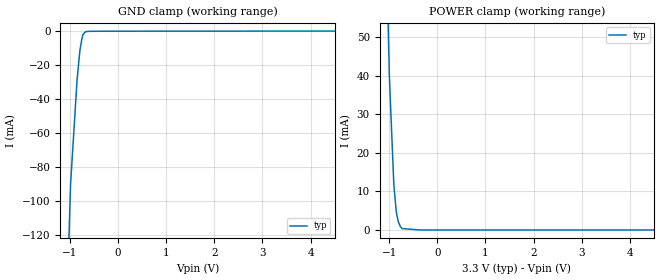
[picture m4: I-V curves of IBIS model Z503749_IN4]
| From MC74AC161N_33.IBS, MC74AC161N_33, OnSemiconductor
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| (C) COPYRIGHT 1993-2000
| MENTOR GRAPHICS CORPORATION
| ICX STANDARD LIBRARY, ICX PROJECT MODELING,
| ICX CUSTOM MODELING, ICX VENDOR MODEL
| ALL RIGHTS RESERVED.
| THE FOLLOWING ARE TRADEMARKS OR SERVICE MARKS OF
| MENTOR GRAPHICS CORPORATION:ICX (R), ICX STANDARD
| LIBRARY(R), ICX PROJECT MODELING(R), ICX CUSTOM
| MODELING(R), qualityIBIS(TM), MODELVIEWER(TM),
| AND MODELEDITOR(TM)
| ALL COPIES OF SOFTWARE, INCLUDING BUT NOT LIMITED TO
| ANY MODIFICATIONS, ENHANCEMENTS OR DERIVATIVE WORKS,
| MUST CONTAIN ALL MENTOR GRAPHICS CORPORATION'S
| NOTICES AND LEGENDS, INCLUDING THOSE EMBEDDED IN
| SOFTWARE AND THOSE AFFIXED TO SOFTWARE MEDIUM
| AND CONTAINER, AS RECEIVED FROM MENTOR GRAPHICS
| CORPORATION.
| Model Application Version 1.89 2/18/99.
[Model] Z503749_IN4
Model_type Input
Vinl = 990.0mV
Vinh = 2.310V
C_comp 4.000pF NA NA
| variable typ   min   max
[Voltage Range] 3.300V NA NA
[GND Clamp Reference] 0.000V NA NA
[POWER Clamp Reference] 3.300V NA NA
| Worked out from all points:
|   GND clamp passes 1 mA (typ) near -0.71 V on its own axis
|   POWER clamp passes 1 mA (typ) near -0.77 V on its own axis
[GND Clamp]
-3.3V     -2.246A    NA         NA
-989.4mV  -90.08mA   NA         NA
-855.6mV  -29.12mA   NA         NA
-796.6mV  -11.35mA   NA         NA
-747.3mV  -3.256mA   NA         NA
-730.6mV  -1.82mA    NA         NA
-667.5mV  -126.8uA   NA         NA
6.6V      241uA      NA         NA
[POWER Clamp]
-3.3V     1.521A     NA         NA
-1.123V   106.2mA    NA         NA
-997mV    39.68mA    NA         NA
-905mV    11.71mA    NA         NA
-854mV    4.771mA    NA         NA
-817mV    2.327mA    NA         NA
-774mV    1.017mA    NA         NA
-737mV    376.4uA    NA         NA
-368.5mV  0A         NA         NA
6.6V      0A         NA         NA
